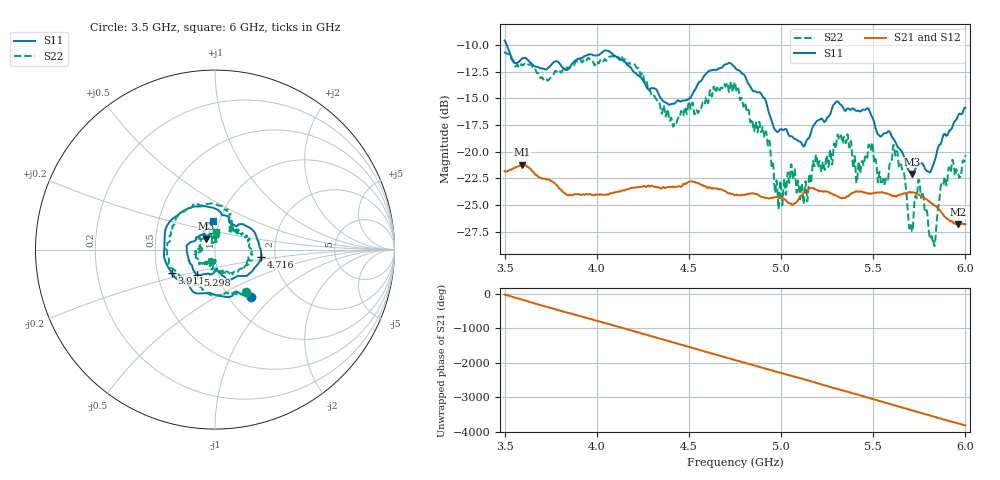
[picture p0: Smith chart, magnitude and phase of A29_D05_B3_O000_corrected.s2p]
! Created with skrf 1.9.0 (http://scikit-rf.org).
# Hz S RI R 50.0
!freq ReS11 ImS11 ReS21 ImS21 ReS12 ImS12 ReS22 ImS22
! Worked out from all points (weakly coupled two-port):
!   1601 points, 3.5 GHz to 6 GHz, reference 50 ohm
!   highest |S21| = -21.21 dB at 3.595 GHz (marker M1); lowest = -26.8 dB at 5.959 GHz (marker M2)
!   lowest |S11| = -22.1 dB at 5.711 GHz (marker M3), VSWR 1.17, Z = 45 + j5.53 ohm
!   |S11| at or under -10 dB: 3.512 GHz to end of sweep
!   |S22| runs from -28.9 to -10.6 dB; largest |S21 - S12| = 0.00091
!   S11 on the Smith chart (normalised r, x): 3.5 GHz: 1.26, -0.75; 3.911 GHz: 0.59, -0.17; 4.716 GHz: 1.69, -0.15; 5.298 GHz: 0.79, -0.23; 6 GHz: 0.93, +0.31
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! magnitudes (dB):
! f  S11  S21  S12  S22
! 3.5 GHz  -9.6  -21.8  -21.8  -10.6
! 3.595 GHz  -11.3  -21.2  -21.2  -11.9
! 3.911 GHz  -11.3  -24.0  -24.0  -11.4
! 3.917 GHz  -11.2  -24.1  -24.0  -11.6
! 4.145 GHz  -11.5  -23.6  -23.6  -11.4
! 4.334 GHz  -14.5  -23.3  -23.3  -15.4
! 4.422 GHz  -15.5  -23.3  -23.3  -17.3
! 4.716 GHz  -11.7  -23.9  -23.9  -14.3
! 4.75 GHz  -12.1  -24.1  -24.0  -13.5
! 4.928 GHz  -16.0  -24.3  -24.3  -19.4
! 4.978 GHz  -18.1  -24.2  -24.2  -23.0
! 5.133 GHz  -19.2  -23.7  -23.6  -22.8
! 5.167 GHz  -17.9  -23.4  -23.4  -21.9
! 5.298 GHz  -15.3  -24.1  -24.1  -19.5
! 5.584 GHz  -18.1  -24.0  -24.0  -21.9
! 5.62 GHz  -19.1  -24.2  -24.2  -20.4
! 5.711 GHz  -22.1  -23.8  -23.7  -27.5
! 5.753 GHz  -21.2  -24.1  -24.1  -23.1
! 5.827 GHz  -21.2  -25.0  -24.9  -28.5
! 5.877 GHz  -18.6  -25.8  -25.8  -23.1
! 5.959 GHz  -16.7  -26.8  -26.8  -22.1
! 6 GHz  -15.9  -26.8  -26.7  -20.3
